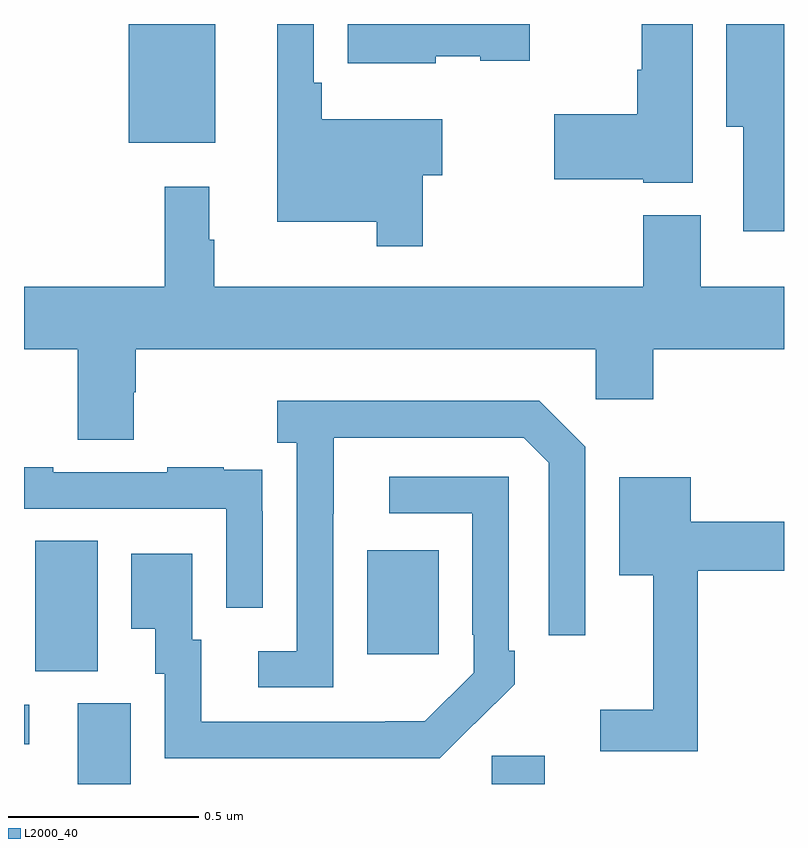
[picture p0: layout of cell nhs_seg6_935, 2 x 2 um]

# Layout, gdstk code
import gdstk
lib = gdstk.Library(unit=1e-6, precision=1e-09)
def R(c, l, rs):  # rectangles x0, y0, x1, y1
    for r in rs: c.add(gdstk.rectangle(r[:2], r[2:], *l))
def P(c, l, *ps):  # polygons
    for p in ps: c.add(gdstk.Polygon(p, *l))
L2000_40 = (2000, 40)

nhs_seg6_935 = lib.new_cell('nhs_seg6_935')
R(nhs_seg6_935, L2000_40, [(122.141,971.5,122.281,971.712), (123.231,971.5,123.37,971.574), (122,971.604,122.014,971.709), (122.03,971.797,122.194,972.14), (122.903,971.841,123.091,972.115), (122.276,973.187,122.503,973.5)])
P(nhs_seg6_935, L2000_40, [(123.084,973.415),(123.201,973.415),(123.201,973.403),(123.331,973.403),(123.331,973.5),(122.852,973.5),(122.852,973.397),(123.084,973.397)],
  [(123.049,973.102),(123.1,973.102),(123.1,973.249),(122.783,973.249),(122.783,973.345),(122.763,973.345),(122.763,973.5),(122.666,973.5),(122.666,972.98),(122.928,972.98),(122.928,972.915),(123.049,972.915)],
  [(124,973.5),(123.848,973.5),(123.848,973.229),(123.893,973.229),(123.893,972.954),(124,972.954)],
  [(123.76,973.5),(123.626,973.5),(123.626,973.379),(123.614,973.379),(123.614,973.262),(123.396,973.262),(123.396,973.091),(123.63,973.091),(123.63,973.082),(123.76,973.082)],
  [(122.289,972.531),(122.294,972.531),(122.294,972.644),(123.504,972.644),(123.504,972.513),(123.656,972.513),(123.656,972.644),(124,972.644),(124,972.808),(123.781,972.808),(123.781,972.997),(123.629,972.997),(123.629,972.808),(122.5,972.808),(122.5,972.932),(122.488,972.932),(122.488,973.072),(122.371,973.072),(122.371,972.808),(122,972.808),(122,972.644),(122.141,972.644),(122.141,972.406),(122.289,972.406)],
  [(122.814,972.211),(122.815,972.211),(122.815,972.411),(123.315,972.411),(123.381,972.345),(123.381,971.892),(123.477,971.892),(123.477,972.387),(123.356,972.508),(122.667,972.508),(122.667,972.398),(122.718,972.398),(122.718,971.85),(122.616,971.85),(122.616,971.754),(122.814,971.754)],
  [(122.628,972.218),(122.627,972.218),(122.627,972.327),(122.525,972.327),(122.525,972.334),(122.377,972.334),(122.377,972.321),(122.077,972.321),(122.077,972.334),(122,972.334),(122,972.225),(122.532,972.225),(122.532,971.964),(122.628,971.964)],
  [(123.185,971.659),(123.186,971.658),(123.291,971.763),(123.291,971.851),(123.276,971.851),(123.276,972.309),(122.961,972.309),(122.961,972.213),(123.18,972.213),(123.18,971.893),(123.183,971.893),(123.183,971.793),(123.055,971.665),(122.951,971.665),(122.951,971.664),(122.467,971.664),(122.467,971.88),(122.443,971.88),(122.443,972.106),(122.282,972.106),(122.282,971.909),(122.345,971.909),(122.345,971.79),(122.37,971.79),(122.37,971.568),(123.094,971.568)],
  [(123.773,972.061),(124,972.061),(124,972.19),(123.754,972.19),(123.754,972.307),(123.566,972.307),(123.566,972.05),(123.656,972.05),(123.656,971.695),(123.516,971.695),(123.516,971.586),(123.773,971.586)])

lib.write_gds('nhs_seg6_935.gds')
